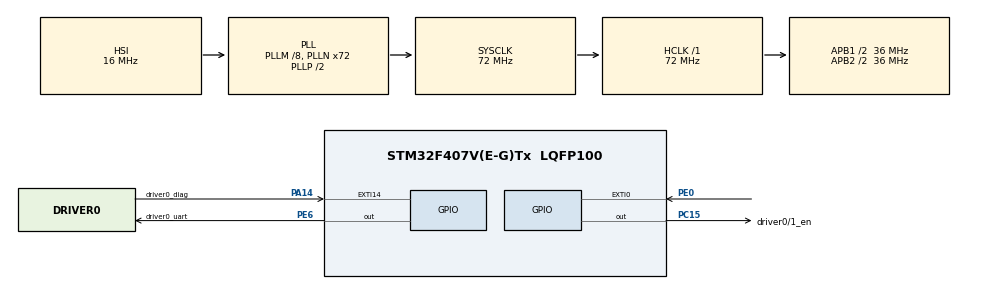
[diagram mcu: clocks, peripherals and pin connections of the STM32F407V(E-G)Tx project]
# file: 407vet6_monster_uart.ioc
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Mcu.Family=STM32F4
Mcu.Name=STM32F407V(E-G)Tx
Mcu.Package=LQFP100
NVIC.EXTI0_IRQn=true\:0\:0\:false\:false\:true\:true\:true\:true
NVIC.EXTI15_10_IRQn=true\:0\:0\:false\:false\:true\:true\:true\:true
NVIC.PriorityGroup=NVIC_PRIORITYGROUP_4
NVIC.TIM5_IRQn=true\:0\:0\:false\:false\:true\:true\:true\:true
PA14.GPIO_Label=driver0_diag
PA14.GPIO_PuPd=GPIO_PULLUP
PA14.Signal=GPXTI14
PC15-OSC32_OUT.GPIO_Label=driver0/1_en
PC15-OSC32_OUT.Signal=GPIO_Output
PE0.GPIO_PuPd=GPIO_PULLDOWN
PE0.Signal=GPXTI0
PE6.GPIO_Label=driver0_uart
PE6.GPIO_PuPd=GPIO_PULLUP
PE6.GPIO_Speed=GPIO_SPEED_FREQ_HIGH
PE6.PinState=GPIO_PIN_SET
PE6.Signal=GPIO_Output
ProjectManager.HeapSize=0x200
ProjectManager.StackSize=0x400
ProjectManager.TargetToolchain=STM32CubeIDE
RCC.48MHZClocksFreq_Value=36000000
RCC.AHBFreq_Value=72000000
RCC.APB1CLKDivider=RCC_HCLK_DIV2
RCC.APB1Freq_Value=36000000
RCC.APB1TimFreq_Value=72000000
RCC.APB2CLKDivider=RCC_HCLK_DIV2
RCC.APB2Freq_Value=36000000
RCC.APB2TimFreq_Value=72000000
RCC.CortexFreq_Value=72000000
RCC.HCLKFreq_Value=72000000
RCC.HSE_VALUE=25000000
RCC.HSI_VALUE=16000000
RCC.LSE_VALUE=32768
RCC.PLLM=8
RCC.PLLN=72
RCC.SYSCLKFreq_VALUE=72000000
RCC.SYSCLKSource=RCC_SYSCLKSOURCE_PLLCLK
RCC.VCOOutputFreq_Value=144000000
TIM5.Period=9
TIM5.Prescaler=74
VP_TIM5_VS_ClockSourceINT.Mode=Internal
board=custom

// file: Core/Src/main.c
/* USER CODE BEGIN Header */
/**
 ******************************************************************************
 * @file           : main.c
 * @brief          : Main program body
 ******************************************************************************
 * @attention
 *
 * Copyright (c) 2024 STMicroelectronics.
 * All rights reserved.
 *
 * This software is licensed under terms that can be found in the LICENSE file
 * in the root directory of this software component.
 * If no LICENSE file comes with this software, it is provided AS-IS.
 *
 ******************************************************************************
 */
/* USER CODE END Header */
#include "main.h"

/* USER CODE BEGIN Includes */
#include "softuart.h"
#include "tmc2209_uart.h"
/* USER CODE END Includes */

TIM_HandleTypeDef htim5;

void SystemClock_Config(void);
static void MX_GPIO_Init(void);
static void MX_TIM5_Init(void);

/* USER CODE BEGIN 0 */

// 定时器中断
void HAL_TIM_PeriodElapsedCallback(TIM_HandleTypeDef *htim) {
	// 软件串口
	if (htim->Instance == TIM5) {
		SoftUartHandler();
	}
}

// 外部中断
void HAL_GPIO_EXTI_Callback(uint16_t GPIO_Pin) {
	if (GPIO_Pin == GPIO_PIN_14) {
		// 停转
//		 TMC2209_moveAtVelocity(0,0);
		HAL_GPIO_WritePin(GPIOC, GPIO_PIN_15, GPIO_PIN_SET);
	}
	if (GPIO_Pin == GPIO_PIN_0) {
		// 停转
		HAL_GPIO_WritePin(GPIOC, GPIO_PIN_15, GPIO_PIN_SET);
//		 TMC2209_moveAtVelocity(0,0);

	}
}

/* USER CODE END 0 */

int main(void)
{

  /* MCU Configuration--------------------------------------------------------*/

  /* Reset of all peripherals, Initializes the Flash interface and the Systick. */
  HAL_Init();

  /* Configure the system clock */
  SystemClock_Config();

  /* Initialize all configured peripherals */
  MX_GPIO_Init();
  MX_TIM5_Init();
  /* USER CODE BEGIN 2 */

	// 启动定时器
	if (HAL_TIM_Base_Start_IT(&htim5) != HAL_OK) {
		Error_Handler();
	}

	// 配置软件串口，仅TX
	SoftUartInit(0, GPIOE, GPIO_PIN_6, NULL, 0);

	// 初始化tmc2209
	TMC2209_Init(0);
	TMC2209_setRunCurrent_100(0);
	TMC2209_enableCoolStep(0);
	TMC2209_enable(0);
	TMC2209_enableCoolStep(0);
	TMC2209_enableStallGuard(0);

	// 使能
	HAL_GPIO_WritePin(GPIOC, GPIO_PIN_15, GPIO_PIN_RESET);

	// 转
	TMC2209_moveAtVelocity(0, 50000);

  /* USER CODE END 2 */

  /* Infinite loop */
	while (1) {

	}
}

void SystemClock_Config(void)
{
  RCC_OscInitTypeDef RCC_OscInitStruct = {0};
  RCC_ClkInitTypeDef RCC_ClkInitStruct = {0};

  /** Configure the main internal regulator output voltage
  */
  __HAL_RCC_PWR_CLK_ENABLE();
  __HAL_PWR_VOLTAGESCALING_CONFIG(PWR_REGULATOR_VOLTAGE_SCALE1);

  /** Initializes the RCC Oscillators according to the specified parameters
  * in the RCC_OscInitTypeDef structure.
  */
  RCC_OscInitStruct.OscillatorType = RCC_OSCILLATORTYPE_HSI;
  RCC_OscInitStruct.HSIState = RCC_HSI_ON;
  RCC_OscInitStruct.HSICalibrationValue = RCC_HSICALIBRATION_DEFAULT;
  RCC_OscInitStruct.PLL.PLLState = RCC_PLL_ON;
  RCC_OscInitStruct.PLL.PLLSource = RCC_PLLSOURCE_HSI;
  RCC_OscInitStruct.PLL.PLLM = 8;
  RCC_OscInitStruct.PLL.PLLN = 72;
  RCC_OscInitStruct.PLL.PLLP = RCC_PLLP_DIV2;
  RCC_OscInitStruct.PLL.PLLQ = 4;
  if (HAL_RCC_OscConfig(&RCC_OscInitStruct) != HAL_OK)
  {
    Error_Handler();
  }

  /** Initializes the CPU, AHB and APB buses clocks
  */
  RCC_ClkInitStruct.ClockType = RCC_CLOCKTYPE_HCLK|RCC_CLOCKTYPE_SYSCLK
                              |RCC_CLOCKTYPE_PCLK1|RCC_CLOCKTYPE_PCLK2;
  RCC_ClkInitStruct.SYSCLKSource = RCC_SYSCLKSOURCE_PLLCLK;
  RCC_ClkInitStruct.AHBCLKDivider = RCC_SYSCLK_DIV1;
  RCC_ClkInitStruct.APB1CLKDivider = RCC_HCLK_DIV2;
  RCC_ClkInitStruct.APB2CLKDivider = RCC_HCLK_DIV2;

  if (HAL_RCC_ClockConfig(&RCC_ClkInitStruct, FLASH_LATENCY_2) != HAL_OK)
  {
    Error_Handler();
  }
}

static void MX_TIM5_Init(void)
{

  TIM_ClockConfigTypeDef sClockSourceConfig = {0};
  TIM_MasterConfigTypeDef sMasterConfig = {0};

  htim5.Instance = TIM5;
  htim5.Init.Prescaler = 74;
  htim5.Init.CounterMode = TIM_COUNTERMODE_UP;
  htim5.Init.Period = 9;
  htim5.Init.ClockDivision = TIM_CLOCKDIVISION_DIV1;
  htim5.Init.AutoReloadPreload = TIM_AUTORELOAD_PRELOAD_DISABLE;
  if (HAL_TIM_Base_Init(&htim5) != HAL_OK)
  {
    Error_Handler();
  }
  sClockSourceConfig.ClockSource = TIM_CLOCKSOURCE_INTERNAL;
  if (HAL_TIM_ConfigClockSource(&htim5, &sClockSourceConfig) != HAL_OK)
  {
    Error_Handler();
  }
  sMasterConfig.MasterOutputTrigger = TIM_TRGO_RESET;
  sMasterConfig.MasterSlaveMode = TIM_MASTERSLAVEMODE_DISABLE;
  if (HAL_TIMEx_MasterConfigSynchronization(&htim5, &sMasterConfig) != HAL_OK)
  {
    Error_Handler();
  }

}

static void MX_GPIO_Init(void)
{
  GPIO_InitTypeDef GPIO_InitStruct = {0};

  /* GPIO Ports Clock Enable */
  __HAL_RCC_GPIOE_CLK_ENABLE();
  __HAL_RCC_GPIOC_CLK_ENABLE();
  __HAL_RCC_GPIOA_CLK_ENABLE();

  /*Configure GPIO pin Output Level */
  HAL_GPIO_WritePin(driver0_uart_GPIO_Port, driver0_uart_Pin, GPIO_PIN_SET);

  /*Configure GPIO pin Output Level */
  HAL_GPIO_WritePin(driver0_1_en_GPIO_Port, driver0_1_en_Pin, GPIO_PIN_RESET);

  /*Configure GPIO pin : driver0_uart_Pin */
  GPIO_InitStruct.Pin = driver0_uart_Pin;
  GPIO_InitStruct.Mode = GPIO_MODE_OUTPUT_PP;
  GPIO_InitStruct.Pull = GPIO_PULLUP;
  GPIO_InitStruct.Speed = GPIO_SPEED_FREQ_HIGH;
  HAL_GPIO_Init(driver0_uart_GPIO_Port, &GPIO_InitStruct);

  /*Configure GPIO pin : driver0_1_en_Pin */
  GPIO_InitStruct.Pin = driver0_1_en_Pin;
  GPIO_InitStruct.Mode = GPIO_MODE_OUTPUT_PP;
  GPIO_InitStruct.Pull = GPIO_NOPULL;
  GPIO_InitStruct.Speed = GPIO_SPEED_FREQ_LOW;
  HAL_GPIO_Init(driver0_1_en_GPIO_Port, &GPIO_InitStruct);

  /*Configure GPIO pin : driver0_diag_Pin */
  GPIO_InitStruct.Pin = driver0_diag_Pin;
  GPIO_InitStruct.Mode = GPIO_MODE_IT_RISING;
  GPIO_InitStruct.Pull = GPIO_PULLUP;
  HAL_GPIO_Init(driver0_diag_GPIO_Port, &GPIO_InitStruct);

  /*Configure GPIO pin : PE0 */
  GPIO_InitStruct.Pin = GPIO_PIN_0;
  GPIO_InitStruct.Mode = GPIO_MODE_IT_RISING;
  GPIO_InitStruct.Pull = GPIO_PULLDOWN;
  HAL_GPIO_Init(GPIOE, &GPIO_InitStruct);

  /* EXTI interrupt init*/
  HAL_NVIC_SetPriority(EXTI0_IRQn, 0, 0);
  HAL_NVIC_EnableIRQ(EXTI0_IRQn);

  HAL_NVIC_SetPriority(EXTI15_10_IRQn, 0, 0);
  HAL_NVIC_EnableIRQ(EXTI15_10_IRQn);

}

void Error_Handler(void)
{
	__disable_irq();
	while (1) {
	}
}
